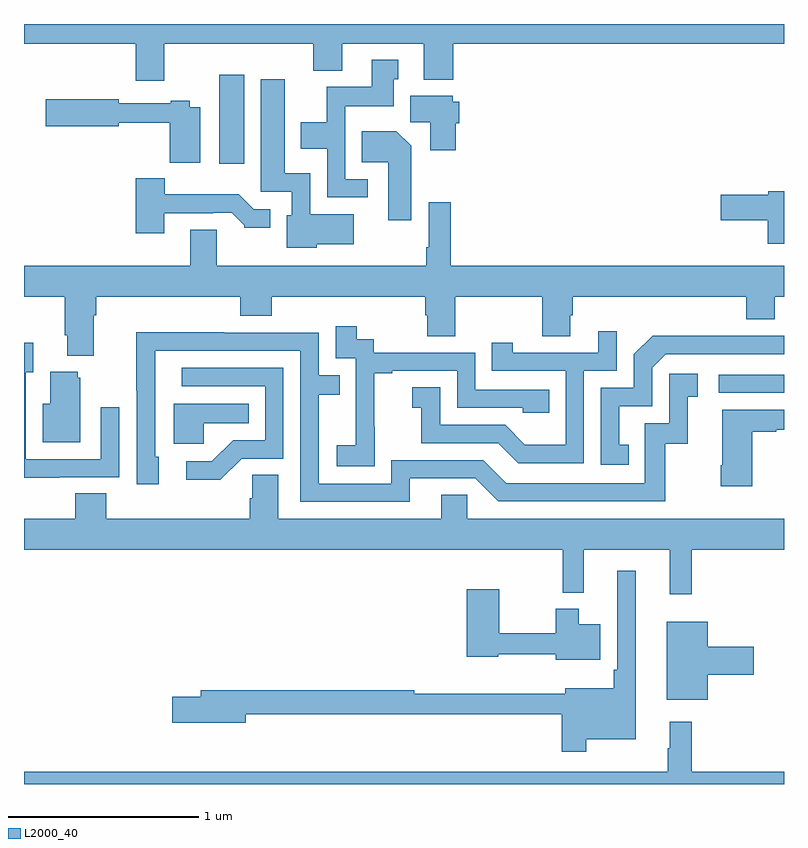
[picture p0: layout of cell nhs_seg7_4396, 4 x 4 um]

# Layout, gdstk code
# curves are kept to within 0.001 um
import gdstk
lib = gdstk.Library(unit=1e-6, precision=1e-09)
def R(c, l, rs):  # rectangles x0, y0, x1, y1
    for r in rs: c.add(gdstk.rectangle(r[:2], r[2:], *l))
def P(c, l, *ps):  # polygons
    for p in ps: c.add(gdstk.Polygon(p, *l))
L2000_40 = (2000, 40)

nhs_seg7_4396 = lib.new_cell('nhs_seg7_4396')
R(nhs_seg7_4396, L2000_40, [(390.657,1052.058,391,1052.154), (388.028,1053.264,388.159,1053.733)])
P(nhs_seg7_4396, L2000_40, [(387.739,1053.896),(388.523,1053.896),(388.523,1053.755),(388.675,1053.755),(388.675,1053.896),(389.105,1053.896),(389.105,1053.707),(389.258,1053.707),(389.258,1053.896),(391,1053.896),(391,1054),(387,1054),(387,1053.896),(387.587,1053.896),(387.587,1053.702),(387.739,1053.702)],
  [(388.81,1053.183),(388.692,1053.183),(388.692,1053.566),(388.945,1053.566),(388.945,1053.708),(388.969,1053.708),(388.969,1053.811),(388.829,1053.811),(388.829,1053.67),(388.594,1053.67),(388.594,1053.484),(388.457,1053.484),(388.457,1053.344),(388.596,1053.344),(388.596,1053.087),(388.81,1053.087)],
  [(388.542,1052.84),(388.735,1052.84),(388.735,1052.998),(388.506,1052.998),(388.506,1053.214),(388.372,1053.214),(388.372,1053.709),(388.247,1053.709),(388.247,1053.117),(388.41,1053.117),(388.41,1052.994),(388.382,1052.994),(388.382,1052.822),(388.542,1052.822)],
  [(389.273,1053.477),(389.291,1053.477),(389.291,1053.591),(389.256,1053.591),(389.256,1053.622),(389.033,1053.622),(389.033,1053.484),(389.138,1053.484),(389.138,1053.336),(389.273,1053.336)],
  [(387.928,1053.562),(387.873,1053.562),(387.873,1053.595),(387.773,1053.595),(387.773,1053.582),(387.498,1053.582),(387.498,1053.603),(387.114,1053.603),(387.114,1053.461),(387.498,1053.461),(387.498,1053.481),(387.766,1053.481),(387.766,1053.269),(387.928,1053.269)],
  [(389.038,1053.358),(388.96,1053.436),(388.777,1053.436),(388.777,1053.272),(388.916,1053.272),(388.916,1052.967),(389.038,1052.967)],
  [(387.739,1053.003),(387.995,1053.003),(387.995,1053.006),(388.094,1053.006),(388.158,1052.942),(388.158,1052.927),(388.297,1052.927),(388.297,1053.024),(388.209,1053.024),(388.131,1053.103),(387.742,1053.103),(387.742,1053.187),(387.587,1053.187),(387.587,1052.898),(387.739,1052.898)],
  [(391,1053.119),(390.918,1053.119),(390.918,1053.101),(390.666,1053.101),(390.666,1052.966),(390.914,1052.966),(390.914,1052.843),(391,1052.843)],
  [(387.367,1052.468),(387.38,1052.468),(387.38,1052.564),(388.139,1052.564),(388.139,1052.465),(388.304,1052.465),(388.304,1052.564),(389.111,1052.564),(389.111,1052.466),(389.123,1052.466),(389.123,1052.356),(389.271,1052.356),(389.271,1052.564),(389.728,1052.564),(389.728,1052.356),(389.875,1052.356),(389.875,1052.466),(389.888,1052.466),(389.888,1052.564),(390.8,1052.564),(390.8,1052.447),(390.952,1052.447),(390.952,1052.564),(391,1052.564),(391,1052.728),(389.246,1052.728),(389.246,1053.061),(389.13,1053.061),(389.13,1052.824),(389.118,1052.824),(389.118,1052.728),(388.015,1052.728),(388.015,1052.918),(387.875,1052.918),(387.875,1052.728),(387,1052.728),(387,1052.564),(387.215,1052.564),(387.215,1052.362),(387.227,1052.362),(387.227,1052.255),(387.367,1052.255)],
  [(388.845,1051.879),(388.844,1051.879),(388.844,1052.163),(388.939,1052.163),(388.939,1052.175),(389.28,1052.175),(389.28,1051.98),(389.625,1051.98),(389.625,1051.953),(389.765,1051.953),(389.765,1052.076),(389.376,1052.076),(389.376,1052.271),(388.842,1052.271),(388.842,1052.34),(388.75,1052.34),(388.75,1052.41),(388.641,1052.41),(388.641,1052.241),(388.746,1052.241),(388.746,1052.012),(388.745,1052.012),(388.745,1051.783),(388.647,1051.783),(388.647,1051.673),(388.845,1051.673)],
  [(389.946,1052.175),(390.12,1052.175),(390.12,1052.383),(390.023,1052.383),(390.023,1052.271),(389.572,1052.271),(389.572,1052.323),(389.461,1052.323),(389.461,1052.175),(389.85,1052.175),(389.85,1051.786),(389.636,1051.786),(389.532,1051.89),(389.19,1051.89),(389.19,1052.089),(389.043,1052.089),(389.043,1051.979),(389.092,1051.979),(389.092,1051.794),(389.495,1051.794),(389.6,1051.689),(389.946,1051.689)],
  [(389.029,1051.608),(389.376,1051.608),(389.496,1051.488),(390.376,1051.488),(390.376,1051.791),(390.494,1051.791),(390.494,1052.037),(390.547,1052.037),(390.547,1052.158),(390.396,1052.158),(390.396,1051.899),(390.267,1051.899),(390.267,1051.584),(389.538,1051.584),(389.418,1051.704),(388.932,1051.704),(388.932,1051.581),(388.551,1051.581),(388.551,1052.05),(388.661,1052.05),(388.661,1052.151),(388.551,1052.151),(388.551,1052.376),(388.055,1052.376),(388.055,1052.378),(387.592,1052.378),(387.592,1052.071),(387.594,1052.071),(387.594,1051.578),(387.709,1051.578),(387.709,1051.722),(387.69,1051.722),(387.691,1052.28),(388.455,1052.28),(388.455,1051.485),(389.029,1051.485)],
  [(390.182,1051.785),(390.133,1051.785),(390.133,1051.989),(390.306,1051.989),(390.306,1052.19),(390.378,1052.262),(391,1052.262),(391,1052.358),(390.716,1052.358),(390.716,1052.36),(390.308,1052.36),(390.21,1052.262),(390.21,1052.085),(390.036,1052.085),(390.036,1051.68),(390.182,1051.68)],
  [(387.185,1051.614),(387.501,1051.614),(387.501,1051.984),(387.405,1051.984),(387.405,1051.71),(387.009,1051.71),(387.009,1052.167),(387.049,1052.167),(387.049,1052.323),(387,1052.323),(387,1051.613),(387.185,1051.613)],
  [(388.146,1051.713),(388.365,1051.713),(388.365,1052.19),(387.831,1052.19),(387.831,1052.094),(388.269,1052.094),(388.269,1051.809),(388.1,1051.809),(387.989,1051.698),(387.855,1051.698),(387.855,1051.601),(388.033,1051.601)],
  [(387.295,1052.139),(387.284,1052.139),(387.284,1052.17),(387.137,1052.17),(387.137,1052.002),(387.098,1052.002),(387.098,1051.799),(387.295,1051.799)],
  [(387.945,1051.898),(388.184,1051.898),(388.184,1052.002),(387.788,1052.002),(387.788,1051.79),(387.945,1051.79)],
  [(390.832,1051.855),(390.959,1051.855),(390.959,1051.865),(391,1051.865),(391,1051.969),(390.674,1051.969),(390.674,1051.678),(390.667,1051.678),(390.667,1051.566),(390.832,1051.566)],
  [(390.515,1051.232),(391,1051.232),(391,1051.396),(389.334,1051.396),(389.334,1051.523),(389.195,1051.523),(389.195,1051.396),(388.339,1051.396),(388.339,1051.628),(388.2,1051.628),(388.2,1051.505),(388.187,1051.505),(388.187,1051.396),(387.434,1051.396),(387.434,1051.529),(387.269,1051.529),(387.269,1051.396),(387,1051.396),(387,1051.232),(389.835,1051.232),(389.835,1051.007),(389.945,1051.007),(389.945,1051.232),(390.398,1051.232),(390.398,1050.999),(390.515,1050.999)],
  [(389.959,1050.236),(390.22,1050.236),(390.22,1051.123),(390.123,1051.123),(390.123,1050.601),(390.103,1050.601),(390.103,1050.505),(389.849,1050.505),(389.849,1050.476),(389.053,1050.476),(389.053,1050.494),(387.929,1050.494),(387.929,1050.458),(387.78,1050.458),(387.78,1050.323),(388.168,1050.323),(388.168,1050.366),(389.83,1050.366),(389.83,1050.171),(389.959,1050.171)],
  [(390.034,1050.841),(389.92,1050.841),(389.92,1050.922),(389.798,1050.922),(389.798,1050.793),(389.5,1050.793),(389.5,1051.024),(389.33,1051.024),(389.33,1050.671),(389.496,1050.671),(389.496,1050.683),(389.798,1050.683),(389.798,1050.653),(390.034,1050.653)],
  [(390.598,1050.575),(390.841,1050.575),(390.841,1050.722),(390.598,1050.722),(390.598,1050.853),(390.383,1050.853),(390.383,1050.443),(390.598,1050.443)],
  [(391,1050.064),(390.515,1050.064),(390.515,1050.328),(390.398,1050.328),(390.398,1050.188),(390.387,1050.188),(390.387,1050.064),(387,1050.064),(387,1050),(391,1050)])

lib.write_gds('nhs_seg7_4396.gds')
